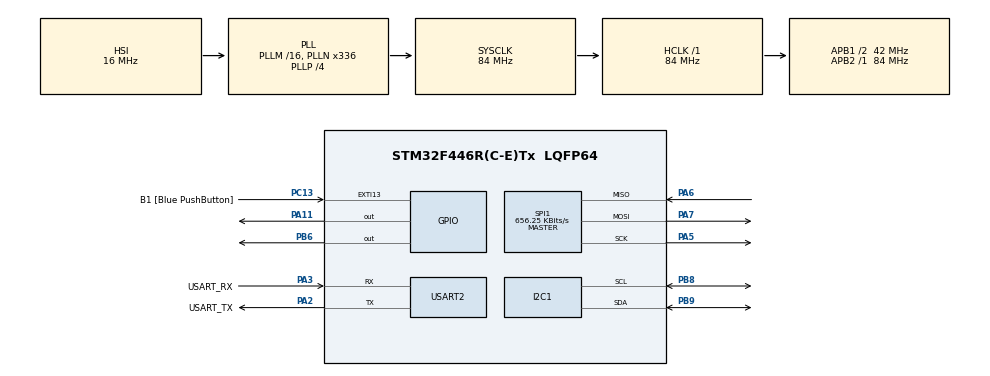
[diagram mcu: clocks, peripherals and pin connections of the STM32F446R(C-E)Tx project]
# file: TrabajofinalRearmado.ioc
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Mcu.Family=STM32F4
Mcu.Name=STM32F446R(C-E)Tx
Mcu.Package=LQFP64
NVIC.PriorityGroup=NVIC_PRIORITYGROUP_0
PA11.Signal=GPIO_Output
PA13.GPIO_Label=TMS
PA13.Mode=Serial_Wire
PA13.Signal=SYS_JTMS-SWDIO
PA14.GPIO_Label=TCK
PA14.Mode=Serial_Wire
PA14.Signal=SYS_JTCK-SWCLK
PA2.GPIO_Label=USART_TX
PA2.Mode=Asynchronous
PA2.Signal=USART2_TX
PA3.GPIO_Label=USART_RX
PA3.Mode=Asynchronous
PA3.Signal=USART2_RX
PA5.Mode=Full_Duplex_Master
PA5.Signal=SPI1_SCK
PA6.Mode=Full_Duplex_Master
PA6.Signal=SPI1_MISO
PA7.Mode=Full_Duplex_Master
PA7.Signal=SPI1_MOSI
PB3.GPIO_Label=SWO
PB3.Signal=SYS_JTDO-SWO
PB6.Signal=GPIO_Output
PB8.Mode=I2C
PB8.Signal=I2C1_SCL
PB9.Mode=I2C
PB9.Signal=I2C1_SDA
PC13.GPIO_Label=B1 [Blue PushButton]
PC13.GPIO_ModeDefaultEXTI=GPIO_MODE_IT_FALLING
PC13.Signal=GPXTI13
PC14-OSC32_IN.Mode=LSE-External-Oscillator
PC14-OSC32_IN.Signal=RCC_OSC32_IN
PC15-OSC32_OUT.Mode=LSE-External-Oscillator
PC15-OSC32_OUT.Signal=RCC_OSC32_OUT
PH0-OSC_IN.Mode=HSE-External-Oscillator
PH0-OSC_IN.Signal=RCC_OSC_IN
PH1-OSC_OUT.Mode=HSE-External-Oscillator
PH1-OSC_OUT.Signal=RCC_OSC_OUT
ProjectManager.HeapSize=0x200
ProjectManager.StackSize=0x400
ProjectManager.TargetToolchain=STM32CubeIDE
RCC.48MHZClocksFreq_Value=84000000
RCC.AHBFreq_Value=84000000
RCC.APB1CLKDivider=RCC_HCLK_DIV2
RCC.APB1Freq_Value=42000000
RCC.APB1TimFreq_Value=84000000
RCC.APB2Freq_Value=84000000
RCC.APB2TimFreq_Value=84000000
RCC.CortexFreq_Value=84000000
RCC.FLatency-AdvancedSettings=FLASH_LATENCY_2
RCC.HCLKFreq_Value=84000000
RCC.HSE_VALUE=8000000
RCC.HSI_VALUE=16000000
RCC.PLLN=336
RCC.PLLP=RCC_PLLP_DIV4
RCC.SYSCLKFreq_VALUE=84000000
RCC.SYSCLKSource=RCC_SYSCLKSOURCE_PLLCLK
RCC.USBFreq_Value=168000000
RCC.VCOOutputFreq_Value=336000000
SPI1.BaudRatePrescaler=SPI_BAUDRATEPRESCALER_128
SPI1.CLKPhase=SPI_PHASE_2EDGE
SPI1.CLKPolarity=SPI_POLARITY_HIGH
SPI1.CalculateBaudRate=656.25 KBits/s
SPI1.Direction=SPI_DIRECTION_2LINES
SPI1.Mode=SPI_MODE_MASTER
SPI1.VirtualType=VM_MASTER
USART2.VirtualMode=VM_ASYNC
board=NUCLEO-F446RE

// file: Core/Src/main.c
/* USER CODE BEGIN Header */
/**
  ******************************************************************************
  * @file           : main.c
  * @brief          : Main program body
  ******************************************************************************
  * @attention
  *
  * Copyright (c) 2026 STMicroelectronics.
  * All rights reserved.
  *
  * This software is licensed under terms that can be found in the LICENSE file
  * in the root directory of this software component.
  * If no LICENSE file comes with this software, it is provided AS-IS.
  *
  ******************************************************************************
  */
/* USER CODE END Header */
#include "main.h"

/* USER CODE BEGIN Includes */
#include "main.h"
#include "API_delay.h"
#include "API_I2C.h"
#include "API_IMU.h"
#include "API_LCD.h"
#include "API_MEF.h"
#include "API_SPI.h"
/* USER CODE END Includes */

I2C_HandleTypeDef hi2c1;

SPI_HandleTypeDef hspi1;

UART_HandleTypeDef huart2;

void SystemClock_Config(void);
static void MX_GPIO_Init(void);
static void MX_USART2_UART_Init(void);
static void MX_SPI1_Init(void);
static void MX_I2C1_Init(void);

int main(void)
{

  /* MCU Configuration--------------------------------------------------------*/

  /* Reset of all peripherals, Initializes the Flash interface and the Systick. */
  HAL_Init();

  /* Configure the system clock */
  SystemClock_Config();

  /* Initialize all configured peripherals */
  MX_GPIO_Init();
  MX_USART2_UART_Init();
  MX_SPI1_Init();
  MX_I2C1_Init();
  /* USER CODE BEGIN 2 */

  lcd_init();
  lcd_clear();
  lcd_print("Iniciando ...");
  HAL_Delay(500);
  imu_init(); // Inicializar Sensor (SPI)
  MEF_init(); //Inicializar Máquina de Estados
  /* USER CODE END 2 */

  /* Infinite loop */
  /* USER CODE BEGIN WHILE */
   while (1)
   {
	   MEF_update();
	   HAL_Delay(500);
	       /* USER CODE END WHILE */

   	   }
}

void SystemClock_Config(void)
{
  RCC_OscInitTypeDef RCC_OscInitStruct = {0};
  RCC_ClkInitTypeDef RCC_ClkInitStruct = {0};

  /** Configure the main internal regulator output voltage
  */
  __HAL_RCC_PWR_CLK_ENABLE();
  __HAL_PWR_VOLTAGESCALING_CONFIG(PWR_REGULATOR_VOLTAGE_SCALE3);

  /** Initializes the RCC Oscillators according to the specified parameters
  * in the RCC_OscInitTypeDef structure.
  */
  RCC_OscInitStruct.OscillatorType = RCC_OSCILLATORTYPE_HSI;
  RCC_OscInitStruct.HSIState = RCC_HSI_ON;
  RCC_OscInitStruct.HSICalibrationValue = RCC_HSICALIBRATION_DEFAULT;
  RCC_OscInitStruct.PLL.PLLState = RCC_PLL_ON;
  RCC_OscInitStruct.PLL.PLLSource = RCC_PLLSOURCE_HSI;
  RCC_OscInitStruct.PLL.PLLM = 16;
  RCC_OscInitStruct.PLL.PLLN = 336;
  RCC_OscInitStruct.PLL.PLLP = RCC_PLLP_DIV4;
  RCC_OscInitStruct.PLL.PLLQ = 2;
  RCC_OscInitStruct.PLL.PLLR = 2;
  if (HAL_RCC_OscConfig(&RCC_OscInitStruct) != HAL_OK)
  {
    Error_Handler();
  }

  /** Initializes the CPU, AHB and APB buses clocks
  */
  RCC_ClkInitStruct.ClockType = RCC_CLOCKTYPE_HCLK|RCC_CLOCKTYPE_SYSCLK
                              |RCC_CLOCKTYPE_PCLK1|RCC_CLOCKTYPE_PCLK2;
  RCC_ClkInitStruct.SYSCLKSource = RCC_SYSCLKSOURCE_PLLCLK;
  RCC_ClkInitStruct.AHBCLKDivider = RCC_SYSCLK_DIV1;
  RCC_ClkInitStruct.APB1CLKDivider = RCC_HCLK_DIV2;
  RCC_ClkInitStruct.APB2CLKDivider = RCC_HCLK_DIV1;

  if (HAL_RCC_ClockConfig(&RCC_ClkInitStruct, FLASH_LATENCY_2) != HAL_OK)
  {
    Error_Handler();
  }
}

static void MX_I2C1_Init(void)
{

  hi2c1.Instance = I2C1;
  hi2c1.Init.ClockSpeed = 100000;
  hi2c1.Init.DutyCycle = I2C_DUTYCYCLE_2;
  hi2c1.Init.OwnAddress1 = 0;
  hi2c1.Init.AddressingMode = I2C_ADDRESSINGMODE_7BIT;
  hi2c1.Init.DualAddressMode = I2C_DUALADDRESS_DISABLE;
  hi2c1.Init.OwnAddress2 = 0;
  hi2c1.Init.GeneralCallMode = I2C_GENERALCALL_DISABLE;
  hi2c1.Init.NoStretchMode = I2C_NOSTRETCH_DISABLE;
  if (HAL_I2C_Init(&hi2c1) != HAL_OK)
  {
    Error_Handler();
  }

}

static void MX_SPI1_Init(void)
{

  /* SPI1 parameter configuration*/
  hspi1.Instance = SPI1;
  hspi1.Init.Mode = SPI_MODE_MASTER;
  hspi1.Init.Direction = SPI_DIRECTION_2LINES;
  hspi1.Init.DataSize = SPI_DATASIZE_8BIT;
  hspi1.Init.CLKPolarity = SPI_POLARITY_HIGH;
  hspi1.Init.CLKPhase = SPI_PHASE_2EDGE;
  hspi1.Init.NSS = SPI_NSS_SOFT;
  hspi1.Init.BaudRatePrescaler = SPI_BAUDRATEPRESCALER_128;
  hspi1.Init.FirstBit = SPI_FIRSTBIT_MSB;
  hspi1.Init.TIMode = SPI_TIMODE_DISABLE;
  hspi1.Init.CRCCalculation = SPI_CRCCALCULATION_DISABLE;
  hspi1.Init.CRCPolynomial = 10;
  if (HAL_SPI_Init(&hspi1) != HAL_OK)
  {
    Error_Handler();
  }

}

static void MX_USART2_UART_Init(void)
{

  huart2.Instance = USART2;
  huart2.Init.BaudRate = 115200;
  huart2.Init.WordLength = UART_WORDLENGTH_8B;
  huart2.Init.StopBits = UART_STOPBITS_1;
  huart2.Init.Parity = UART_PARITY_NONE;
  huart2.Init.Mode = UART_MODE_TX_RX;
  huart2.Init.HwFlowCtl = UART_HWCONTROL_NONE;
  huart2.Init.OverSampling = UART_OVERSAMPLING_16;
  if (HAL_UART_Init(&huart2) != HAL_OK)
  {
    Error_Handler();
  }

}

static void MX_GPIO_Init(void)
{
  GPIO_InitTypeDef GPIO_InitStruct = {0};

  /* GPIO Ports Clock Enable */
  __HAL_RCC_GPIOC_CLK_ENABLE();
  __HAL_RCC_GPIOH_CLK_ENABLE();
  __HAL_RCC_GPIOA_CLK_ENABLE();
  __HAL_RCC_GPIOB_CLK_ENABLE();

  /*Configure GPIO pin Output Level */
  HAL_GPIO_WritePin(GPIOB, GPIO_PIN_6, GPIO_PIN_RESET);

  /*Configure GPIO pin : B1_Pin */
  GPIO_InitStruct.Pin = B1_Pin;
  GPIO_InitStruct.Mode = GPIO_MODE_IT_FALLING;
  GPIO_InitStruct.Pull = GPIO_NOPULL;
  HAL_GPIO_Init(B1_GPIO_Port, &GPIO_InitStruct);

  /*Configure GPIO pin : PB6 */
  GPIO_InitStruct.Pin = GPIO_PIN_6;
  GPIO_InitStruct.Mode = GPIO_MODE_OUTPUT_PP;
  GPIO_InitStruct.Pull = GPIO_NOPULL;
  GPIO_InitStruct.Speed = GPIO_SPEED_FREQ_LOW;
  HAL_GPIO_Init(GPIOB, &GPIO_InitStruct);

}

void Error_Handler(void)
{
  __disable_irq();
  while (1)
  {
  }
}
